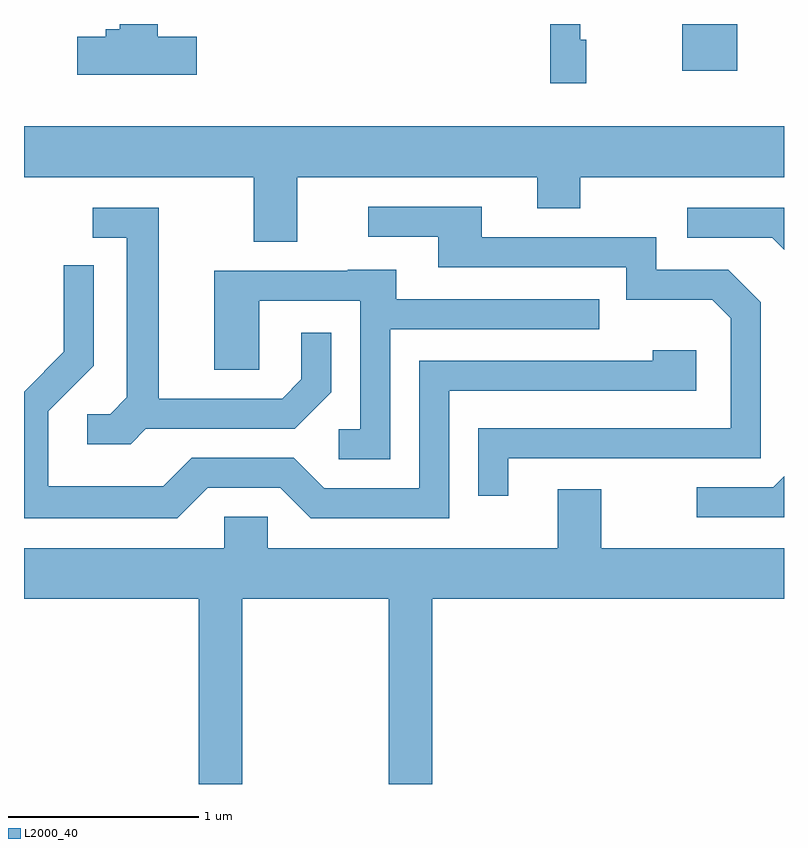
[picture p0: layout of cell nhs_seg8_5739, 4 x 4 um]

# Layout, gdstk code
import gdstk
lib = gdstk.Library(unit=1e-6, precision=1e-09)
def R(c, l, rs):  # rectangles x0, y0, x1, y1
    for r in rs: c.add(gdstk.rectangle(r[:2], r[2:], *l))
def P(c, l, *ps):  # polygons
    for p in ps: c.add(gdstk.Polygon(p, *l))
L2000_40 = (2000, 40)

nhs_seg8_5739 = lib.new_cell('nhs_seg8_5739')
R(nhs_seg8_5739, L2000_40, [(361.076,1828.096,361.364,1828.342)])
P(nhs_seg8_5739, L2000_40, [(360.569,1828.259),(360.539,1828.259),(360.539,1828.342),(360.381,1828.342),(360.381,1828.031),(360.569,1828.031)],
  [(358.519,1828.274),(358.314,1828.274),(358.314,1828.342),(358.116,1828.342),(358.116,1828.314),(358.041,1828.314),(358.041,1828.274),(357.891,1828.274),(357.891,1828.076),(358.519,1828.076)],
  [(359.049,1827.536),(360.311,1827.536),(360.311,1827.371),(360.539,1827.371),(360.539,1827.536),(361.611,1827.536),(361.611,1827.804),(357.611,1827.804),(357.611,1827.536),(358.821,1827.536),(358.821,1827.196),(359.049,1827.196)],
  [(360.159,1826.056),(361.489,1826.056),(361.489,1826.877),(361.317,1827.049),(360.939,1827.049),(360.939,1827.219),(360.019,1827.219),(360.019,1827.379),(359.423,1827.379),(359.423,1827.221),(359.791,1827.221),(359.791,1827.061),(360.781,1827.061),(360.781,1826.891),(361.234,1826.891),(361.331,1826.794),(361.331,1826.214),(360.001,1826.214),(360.001,1825.858),(360.159,1825.858)],
  [(361.611,1827.374),(361.103,1827.374),(361.103,1827.216),(361.549,1827.216),(361.611,1827.154)],
  [(358.252,1826.211),(359.037,1826.211),(359.229,1826.404),(359.229,1826.718),(359.071,1826.718),(359.071,1826.472),(358.969,1826.369),(358.319,1826.369),(358.319,1827.374),(357.973,1827.374),(357.973,1827.216),(358.151,1827.216),(358.151,1826.377),(358.064,1826.289),(357.943,1826.289),(357.943,1826.131),(358.172,1826.131)],
  [(358.577,1825.901),(358.959,1825.901),(359.119,1825.741),(359.849,1825.741),(359.849,1826.411),(361.149,1826.411),(361.149,1826.624),(360.921,1826.624),(360.921,1826.569),(359.691,1826.569),(359.691,1825.899),(359.192,1825.899),(359.032,1826.059),(358.494,1826.059),(358.344,1825.909),(357.739,1825.909),(357.739,1826.304),(357.979,1826.544),(357.979,1827.073),(357.821,1827.073),(357.821,1826.617),(357.611,1826.407),(357.611,1825.741),(358.417,1825.741)],
  [(359.539,1826.736),(360.638,1826.736),(360.638,1826.894),(359.569,1826.894),(359.569,1827.049),(359.315,1827.049),(359.315,1827.044),(358.611,1827.044),(358.611,1826.521),(358.849,1826.521),(358.849,1826.886),(359.381,1826.886),(359.381,1826.209),(359.268,1826.209),(359.268,1826.051),(359.539,1826.051)],
  [(361.611,1825.962),(361.554,1825.904),(361.153,1825.904),(361.153,1825.746),(361.611,1825.746)],
  [(358.759,1825.316),(359.531,1825.316),(359.531,1824.342),(359.759,1824.342),(359.759,1825.316),(361.611,1825.316),(361.611,1825.584),(360.649,1825.584),(360.649,1825.894),(360.421,1825.894),(360.421,1825.584),(358.894,1825.584),(358.894,1825.749),(358.666,1825.749),(358.666,1825.584),(357.611,1825.584),(357.611,1825.316),(358.531,1825.316),(358.531,1824.342),(358.759,1824.342)])

lib.write_gds('nhs_seg8_5739.gds')
